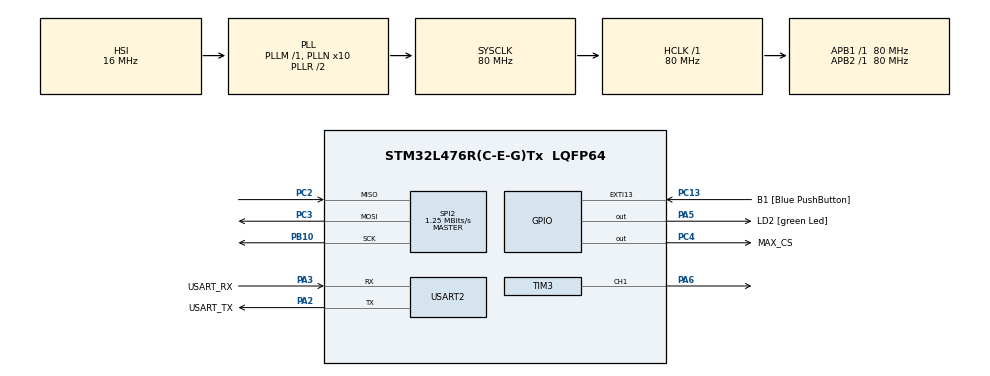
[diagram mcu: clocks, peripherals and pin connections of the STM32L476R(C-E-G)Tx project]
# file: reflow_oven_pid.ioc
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Mcu.Family=STM32L4
PC3.Mode=Full_Duplex_Master
Dma.SPI2_RX.0.Instance=DMA1_Channel4
PA2.GPIO_PuPd=GPIO_NOPULL
TIM17.Prescaler=8000 - 1
RCC.CortexFreq_Value=80000000
VP_TIM17_VS_ClockSourceINT.Mode=Enable_Timer
NVIC.DMA1_Channel5_IRQn=true\:0\:0\:false\:false\:true\:false\:true
SPI2.VirtualType=VM_MASTER
PB10.Mode=Full_Duplex_Master
PH0-OSC_IN\ (PH0).Signal=RCC_OSC_IN
PA3.GPIO_PuPd=GPIO_NOPULL
PA2.GPIO_Speed=GPIO_SPEED_FREQ_VERY_HIGH
Dma.SPI2_TX.1.PeriphInc=DMA_PINC_DISABLE
PC15-OSC32_OUT\ (PC15).Mode=LSE-External-Oscillator
PC13.GPIO_Label=B1 [Blue PushButton]
PA3.GPIO_Speed=GPIO_SPEED_FREQ_VERY_HIGH
RCC.SYSCLKSource=RCC_SYSCLKSOURCE_PLLCLK
ProjectManager.StackSize=0x400
PB3\ (JTDO-TRACESWO).Signal=SYS_JTDO-SWO
PC14-OSC32_IN\ (PC14).Mode=LSE-External-Oscillator
PA14\ (JTCK-SWCLK).Signal=SYS_JTCK-SWCLK
RCC.HCLKFreq_Value=80000000
RCC.APB2TimFreq_Value=80000000
TIM3.Period=4095 - 1
TIM3.OC1Preload_PWM=ENABLE
PC3.Signal=SPI2_MOSI
RCC.AHBFreq_Value=80000000
RCC.PREFETCH_ENABLE=1
SPI2.BaudRatePrescaler=SPI_BAUDRATEPRESCALER_64
TIM3.Channel-PWM\ Generation1\ CH1=TIM_CHANNEL_1
TIM3.ClockDivision=TIM_CLOCKDIVISION_DIV1
RCC.HSE_VALUE=8000000
USART2.VirtualMode-Asynchronous=VM_ASYNC
TIM17.Period=700 - 1
NVIC.TIM1_TRG_COM_TIM17_IRQn=true\:0\:0\:false\:false\:true\:true\:true
PC4.GPIO_Label=MAX_CS
TIM3.Prescaler=9768 - 1
PA5.GPIO_PuPd=GPIO_NOPULL
PC13.GPIO_PuPd=GPIO_NOPULL
SPI2.CalculateBaudRate=1.25 MBits/s
Dma.SPI2_RX.0.MemDataAlignment=DMA_MDATAALIGN_BYTE
SH.S_TIM3_CH1.0=TIM3_CH1,PWM Generation1 CH1
Dma.SPI2_RX.0.MemInc=DMA_MINC_ENABLE
Mcu.Package=LQFP64
PA6.Signal=S_TIM3_CH1
Dma.SPI2_TX.1.Mode=DMA_NORMAL
SPI2.Mode=SPI_MODE_MASTER
PA2.GPIO_Label=USART_TX
Dma.SPI2_TX.1.Instance=DMA1_Channel5
Dma.Request1=SPI2_TX
RCC.APB1TimFreq_Value=80000000
SPI2.Direction=SPI_DIRECTION_2LINES
Dma.SPI2_RX.0.Direction=DMA_PERIPH_TO_MEMORY
NVIC.DMA1_Channel4_IRQn=true\:0\:0\:false\:false\:true\:false\:true
TIM16.Prescaler=8000 - 1
PA13\ (JTMS-SWDIO).Signal=SYS_JTMS-SWDIO
Dma.Request0=SPI2_RX
VP_TIM3_VS_ClockSourceINT.Mode=Internal
PA3.Signal=USART2_RX
PA2.GPIO_Mode=GPIO_MODE_AF_PP
RCC.MSI_VALUE=4000000
RCC.PLLSourceVirtual=RCC_PLLSOURCE_HSI
PA14\ (JTCK-SWCLK).Mode=Serial_Wire
Dma.SPI2_TX.1.MemInc=DMA_MINC_ENABLE
Dma.SPI2_RX.0.Mode=DMA_NORMAL
PC13.Signal=GPXTI13
PC4.Signal=GPIO_Output
PC2.Signal=SPI2_MISO
PC2.Mode=Full_Duplex_Master
PC15-OSC32_OUT\ (PC15).Signal=RCC_OSC32_OUT
VP_TIM16_VS_ClockSourceINT.Mode=Enable_Timer
PA14\ (JTCK-SWCLK).GPIO_Label=TCK
PB3\ (JTDO-TRACESWO).GPIO_Label=SWO
PH1-OSC_OUT\ (PH1).Signal=RCC_OSC_OUT
PA3.Mode=Asynchronous
Dma.SPI2_RX.0.PeriphDataAlignment=DMA_PDATAALIGN_BYTE
TIM3.Pulse-PWM\ Generation1\ CH1=0
ProjectManager.TargetToolchain=STM32CubeIDE
PA3.GPIO_Mode=GPIO_MODE_AF_PP
RCC.USBFreq_Value=64000000
PB10.Signal=SPI2_SCK
PA5.Signal=GPIO_Output
board=NUCLEO-L476RG
Dma.SPI2_TX.1.Direction=DMA_MEMORY_TO_PERIPH
RCC.VCOOutputFreq_Value=160000000
TIM16.Period=10000 - 1
RCC.APB2Freq_Value=80000000
Dma.SPI2_TX.1.PeriphDataAlignment=DMA_PDATAALIGN_BYTE
PA5.GPIO_ModeDefaultOutputPP=GPIO_MODE_OUTPUT_PP
PA13\ (JTMS-SWDIO).GPIO_Label=TMS
Dma.SPI2_TX.1.Priority=DMA_PRIORITY_HIGH
RCC.ADCFreq_Value=64000000
Dma.SPI2_RX.0.Priority=DMA_PRIORITY_HIGH
Mcu.Name=STM32L476R(C-E-G)Tx
PA2.Signal=USART2_TX
PA13\ (JTMS-SWDIO).Mode=Serial_Wire
RCC.SYSCLKFreq_VALUE=80000000
PA5.GPIO_Label=LD2 [green Led]
PC13.GPIO_ModeDefaultEXTI=GPIO_MODE_IT_FALLING
PC14-OSC32_IN\ (PC14).Signal=RCC_OSC32_IN
Dma.SPI2_RX.0.PeriphInc=DMA_PINC_DISABLE
ProjectManager.HeapSize=0x200
RCC.HSI_VALUE=16000000
NVIC.TIM1_UP_TIM16_IRQn=true\:0\:0\:false\:false\:true\:true\:true
PA5.GPIO_Speed=GPIO_SPEED_FREQ_LOW
NVIC.PriorityGroup=NVIC_PRIORITYGROUP_4
RCC.PLLN=10
PA2.Mode=Asynchronous
SPI2.DataSize=SPI_DATASIZE_8BIT
RCC.APB1Freq_Value=80000000
Dma.SPI2_TX.1.MemDataAlignment=DMA_MDATAALIGN_BYTE
PA3.GPIO_Label=USART_RX

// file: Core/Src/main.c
/* USER CODE BEGIN Header */
/**
  ******************************************************************************
  * @file           : main.c
  * @brief          : Main program body
  ******************************************************************************
  * @attention
  *
  * <h2><center>&copy; Copyright (c) 2021 STMicroelectronics.
  * All rights reserved.</center></h2>
  *
  * This software component is licensed by ST under BSD 3-Clause license,
  * the "License"; You may not use this file except in compliance with the
  * License. You may obtain a copy of the License at:
  *                        opensource.org/licenses/BSD-3-Clause
  *
  ******************************************************************************
  */
/* USER CODE END Header */
#include "main.h"

/* USER CODE BEGIN Includes */
#include <string.h>
#include <stdio.h>

#include "MAX31855K.h"
#include "pid.h"
#include "printf.h"
/* USER CODE END Includes */

SPI_HandleTypeDef hspi2;
DMA_HandleTypeDef hdma_spi2_rx;
DMA_HandleTypeDef hdma_spi2_tx;

TIM_HandleTypeDef htim3;
TIM_HandleTypeDef htim16;
TIM_HandleTypeDef htim17;

UART_HandleTypeDef huart2;

/* USER CODE BEGIN PV */
/* Synchronization objects */
volatile uint8_t bin_sem = 0;
volatile uint32_t count = 0;

/* Driver objects */
MAX31855K_t max31855K;
PID_t pid;
/* USER CODE END PV */

void SystemClock_Config(void);
static void MX_GPIO_Init(void);
static void MX_DMA_Init(void);
static void MX_USART2_UART_Init(void);
static void MX_TIM16_Init(void);
static void MX_SPI2_Init(void);
static void MX_TIM3_Init(void);
static void MX_TIM17_Init(void);

/* USER CODE BEGIN 0 */

// Custom putchar() function required for "tiny" printf()
void _putchar(char character)
{
    HAL_UART_Transmit(&huart2, (uint8_t*)&character, 1, HAL_MAX_DELAY);
}

// Callback Function for TIM16 and TIM17 interrupt.
void HAL_TIM_PeriodElapsedCallback(TIM_HandleTypeDef *htim)
{
    if (htim == &htim16) // Every 1 s.
    {
        bin_sem = 1;
        count++;
    }
    else if (htim == &htim17) // Every 0.07 s.
    {
        MAX31855K_RxDMA(&max31855K);
    }
}

// Callback once DMA receive from MAX31855K is completed.
void HAL_SPI_TxRxCpltCallback(SPI_HandleTypeDef *hspi)
{
    if (hspi == &hspi2)
    {
        MAX31885K_RxDMA_Complete(&max31855K);
    }
}

// Callback if error occurred during DMA receive from MAX31855K.
void HAL_SPI_ErrorCallback(SPI_HandleTypeDef *hspi)
{
    if (hspi == &hspi2)
    {
        max31855K.err = MAX_SPI_DMA_FAIL;
    }
}
/* USER CODE END 0 */

int main(void)
{

    /* MCU Configuration--------------------------------------------------------*/

    /* Reset of all peripherals, Initializes the Flash interface and the Systick. */
    HAL_Init();

    /* Configure the system clock */
    SystemClock_Config();

    /* Initialize all configured peripherals */
    MX_GPIO_Init();
    MX_DMA_Init();
    MX_USART2_UART_Init();
    MX_TIM16_Init();
    MX_SPI2_Init();
    MX_TIM3_Init();
    MX_TIM17_Init();
    /* USER CODE BEGIN 2 */

    __HAL_TIM_ENABLE_OCxPRELOAD(&htim3, TIM_CHANNEL_1); // Set OC1PE bit to preload PWM value.
    HAL_TIM_Base_Start_IT(&htim16);                     // Start 1 s timer interrupt.
    HAL_TIM_Base_Start_IT(&htim17);                     // Start 0.07 s timer interrupt.

    MAX31855K_Init(&max31855K, &hspi2, MAX_CS_GPIO_Port, MAX_CS_Pin);
    /* USER CODE END 2 */

    /* Infinite loop */
    /* USER CODE BEGIN WHILE */

    // Create local variables:
    uint8_t set_point = 170;                  // TODO: Update set point
    HAL_TIM_PWM_Start(&htim3, TIM_CHANNEL_1); // Duty cycle initialized to 0%.

    /* PID Iteration:
      setpoint_temp = profile_get_setpoint();
      measured_temp = MAX31855K_Get_HJ(&max31855K);

      pwm = PID_Calculate(&pid, setpoint_temp, measured_temp);

      __HAL_TIM_SET_COMPARE(&htim3, TIM_CHANNEL_1, pwm);
    */

    while (1)
    {
        // Wait for timer interrupt.
        while (bin_sem == 0)
        {
            HAL_Delay(1);
        }
        bin_sem = 0;

        // Pseudo-state machine.
        switch (count)
        {
        case 100:
            __HAL_TIM_SET_COMPARE(&htim3, TIM_CHANNEL_1, 2047); // 50% Duty Cycle
            break;
        case 750:
            __HAL_TIM_SET_COMPARE(&htim3, TIM_CHANNEL_1, 4095); // 100% Duty Cycle
            break;
        case 1250:
            __HAL_TIM_SET_COMPARE(&htim3, TIM_CHANNEL_1, 3071); // 75% Duty Cycle
            break;
        case 2000:
            __HAL_TIM_SET_COMPARE(&htim3, TIM_CHANNEL_1, 1023); // 25% Duty Cycle
            break;
        default:
            break;
        }

        // Transmit set point, MCU control signal and temperature reading.

        switch (max31855K.err) // Automatically updated every ~0.07 s
        {
        case MAX_OK:
        		/* SP, PWM, HJ, CJ */
            printf("%d %d %.2f %.2f\r\n", set_point,
                    (uint16_t)__HAL_TIM_GET_COMPARE(&htim3, TIM_CHANNEL_1) * 100 / 4095,
                    MAX31855K_Get_HJ(&max31855K),
                    MAX31855K_Get_CJ(&max31855K));
            break;
        case MAX_SHORT_VCC:
            printf("Thermocouple shorted to VCC\r\n");
            break;
        case MAX_SHORT_GND:
            printf("Thermocouple shorted to GND\r\n");
            break;
        case MAX_OPEN:
            printf("Thermocouple connection is open\r\n");
            break;
        case MAX_ZEROS:
            printf("SPI read only 0s\r\n");
            break;
        case MAX_SPI_DMA_FAIL:
            printf("SPI DMA Fail\r\n");
            break;
        default:
            printf("Unknown error\r\n");
            break;
        }
        /* USER CODE END WHILE */

    }
}

void SystemClock_Config(void)
{
    RCC_OscInitTypeDef RCC_OscInitStruct = {0};
    RCC_ClkInitTypeDef RCC_ClkInitStruct = {0};
    RCC_PeriphCLKInitTypeDef PeriphClkInit = {0};

    /** Initializes the RCC Oscillators according to the specified parameters
  * in the RCC_OscInitTypeDef structure.
  */
    RCC_OscInitStruct.OscillatorType = RCC_OSCILLATORTYPE_HSI;
    RCC_OscInitStruct.HSIState = RCC_HSI_ON;
    RCC_OscInitStruct.HSICalibrationValue = RCC_HSICALIBRATION_DEFAULT;
    RCC_OscInitStruct.PLL.PLLState = RCC_PLL_ON;
    RCC_OscInitStruct.PLL.PLLSource = RCC_PLLSOURCE_HSI;
    RCC_OscInitStruct.PLL.PLLM = 1;
    RCC_OscInitStruct.PLL.PLLN = 10;
    RCC_OscInitStruct.PLL.PLLP = RCC_PLLP_DIV7;
    RCC_OscInitStruct.PLL.PLLQ = RCC_PLLQ_DIV2;
    RCC_OscInitStruct.PLL.PLLR = RCC_PLLR_DIV2;
    if (HAL_RCC_OscConfig(&RCC_OscInitStruct) != HAL_OK)
    {
        Error_Handler();
    }
    /** Initializes the CPU, AHB and APB buses clocks
  */
    RCC_ClkInitStruct.ClockType = RCC_CLOCKTYPE_HCLK | RCC_CLOCKTYPE_SYSCLK | RCC_CLOCKTYPE_PCLK1 | RCC_CLOCKTYPE_PCLK2;
    RCC_ClkInitStruct.SYSCLKSource = RCC_SYSCLKSOURCE_PLLCLK;
    RCC_ClkInitStruct.AHBCLKDivider = RCC_SYSCLK_DIV1;
    RCC_ClkInitStruct.APB1CLKDivider = RCC_HCLK_DIV1;
    RCC_ClkInitStruct.APB2CLKDivider = RCC_HCLK_DIV1;

    if (HAL_RCC_ClockConfig(&RCC_ClkInitStruct, FLASH_LATENCY_4) != HAL_OK)
    {
        Error_Handler();
    }
    PeriphClkInit.PeriphClockSelection = RCC_PERIPHCLK_USART2;
    PeriphClkInit.Usart2ClockSelection = RCC_USART2CLKSOURCE_PCLK1;
    if (HAL_RCCEx_PeriphCLKConfig(&PeriphClkInit) != HAL_OK)
    {
        Error_Handler();
    }
    /** Configure the main internal regulator output voltage
  */
    if (HAL_PWREx_ControlVoltageScaling(PWR_REGULATOR_VOLTAGE_SCALE1) != HAL_OK)
    {
        Error_Handler();
    }
}

static void MX_SPI2_Init(void)
{

    /* SPI2 parameter configuration*/
    hspi2.Instance = SPI2;
    hspi2.Init.Mode = SPI_MODE_MASTER;
    hspi2.Init.Direction = SPI_DIRECTION_2LINES;
    hspi2.Init.DataSize = SPI_DATASIZE_8BIT;
    hspi2.Init.CLKPolarity = SPI_POLARITY_LOW;
    hspi2.Init.CLKPhase = SPI_PHASE_1EDGE;
    hspi2.Init.NSS = SPI_NSS_SOFT;
    hspi2.Init.BaudRatePrescaler = SPI_BAUDRATEPRESCALER_64;
    hspi2.Init.FirstBit = SPI_FIRSTBIT_MSB;
    hspi2.Init.TIMode = SPI_TIMODE_DISABLE;
    hspi2.Init.CRCCalculation = SPI_CRCCALCULATION_DISABLE;
    hspi2.Init.CRCPolynomial = 7;
    hspi2.Init.CRCLength = SPI_CRC_LENGTH_DATASIZE;
    hspi2.Init.NSSPMode = SPI_NSS_PULSE_ENABLE;
    if (HAL_SPI_Init(&hspi2) != HAL_OK)
    {
        Error_Handler();
    }
}

static void MX_TIM3_Init(void)
{

    TIM_ClockConfigTypeDef sClockSourceConfig = {0};
    TIM_MasterConfigTypeDef sMasterConfig = {0};
    TIM_OC_InitTypeDef sConfigOC = {0};

    htim3.Instance = TIM3;
    htim3.Init.Prescaler = 9768 - 1;
    htim3.Init.CounterMode = TIM_COUNTERMODE_UP;
    htim3.Init.Period = 4095 - 1;
    htim3.Init.ClockDivision = TIM_CLOCKDIVISION_DIV1;
    htim3.Init.AutoReloadPreload = TIM_AUTORELOAD_PRELOAD_DISABLE;
    if (HAL_TIM_Base_Init(&htim3) != HAL_OK)
    {
        Error_Handler();
    }
    sClockSourceConfig.ClockSource = TIM_CLOCKSOURCE_INTERNAL;
    if (HAL_TIM_ConfigClockSource(&htim3, &sClockSourceConfig) != HAL_OK)
    {
        Error_Handler();
    }
    if (HAL_TIM_PWM_Init(&htim3) != HAL_OK)
    {
        Error_Handler();
    }
    sMasterConfig.MasterOutputTrigger = TIM_TRGO_RESET;
    sMasterConfig.MasterSlaveMode = TIM_MASTERSLAVEMODE_DISABLE;
    if (HAL_TIMEx_MasterConfigSynchronization(&htim3, &sMasterConfig) != HAL_OK)
    {
        Error_Handler();
    }
    sConfigOC.OCMode = TIM_OCMODE_PWM1;
    sConfigOC.Pulse = 0;
    sConfigOC.OCPolarity = TIM_OCPOLARITY_HIGH;
    sConfigOC.OCFastMode = TIM_OCFAST_DISABLE;
    if (HAL_TIM_PWM_ConfigChannel(&htim3, &sConfigOC, TIM_CHANNEL_1) != HAL_OK)
    {
        Error_Handler();
    }
    HAL_TIM_MspPostInit(&htim3);
}

static void MX_TIM16_Init(void)
{

    htim16.Instance = TIM16;
    htim16.Init.Prescaler = 8000 - 1;
    htim16.Init.CounterMode = TIM_COUNTERMODE_UP;
    htim16.Init.Period = 10000 - 1;
    htim16.Init.ClockDivision = TIM_CLOCKDIVISION_DIV1;
    htim16.Init.RepetitionCounter = 0;
    htim16.Init.AutoReloadPreload = TIM_AUTORELOAD_PRELOAD_DISABLE;
    if (HAL_TIM_Base_Init(&htim16) != HAL_OK)
    {
        Error_Handler();
    }
}

static void MX_TIM17_Init(void)
{

    htim17.Instance = TIM17;
    htim17.Init.Prescaler = 8000 - 1;
    htim17.Init.CounterMode = TIM_COUNTERMODE_UP;
    htim17.Init.Period = 700 - 1;
    htim17.Init.ClockDivision = TIM_CLOCKDIVISION_DIV1;
    htim17.Init.RepetitionCounter = 0;
    htim17.Init.AutoReloadPreload = TIM_AUTORELOAD_PRELOAD_DISABLE;
    if (HAL_TIM_Base_Init(&htim17) != HAL_OK)
    {
        Error_Handler();
    }
}

static void MX_USART2_UART_Init(void)
{

    huart2.Instance = USART2;
    huart2.Init.BaudRate = 115200;
    huart2.Init.WordLength = UART_WORDLENGTH_8B;
    huart2.Init.StopBits = UART_STOPBITS_1;
    huart2.Init.Parity = UART_PARITY_NONE;
    huart2.Init.Mode = UART_MODE_TX_RX;
    huart2.Init.HwFlowCtl = UART_HWCONTROL_NONE;
    huart2.Init.OverSampling = UART_OVERSAMPLING_16;
    huart2.Init.OneBitSampling = UART_ONE_BIT_SAMPLE_DISABLE;
    huart2.AdvancedInit.AdvFeatureInit = UART_ADVFEATURE_NO_INIT;
    if (HAL_UART_Init(&huart2) != HAL_OK)
    {
        Error_Handler();
    }
}

static void MX_DMA_Init(void)
{

    /* DMA controller clock enable */
    __HAL_RCC_DMA1_CLK_ENABLE();

    /* DMA interrupt init */
    /* DMA1_Channel4_IRQn interrupt configuration */
    HAL_NVIC_SetPriority(DMA1_Channel4_IRQn, 0, 0);
    HAL_NVIC_EnableIRQ(DMA1_Channel4_IRQn);
    /* DMA1_Channel5_IRQn interrupt configuration */
    HAL_NVIC_SetPriority(DMA1_Channel5_IRQn, 0, 0);
    HAL_NVIC_EnableIRQ(DMA1_Channel5_IRQn);
}

static void MX_GPIO_Init(void)
{
    GPIO_InitTypeDef GPIO_InitStruct = {0};

    /* GPIO Ports Clock Enable */
    __HAL_RCC_GPIOC_CLK_ENABLE();
    __HAL_RCC_GPIOH_CLK_ENABLE();
    __HAL_RCC_GPIOA_CLK_ENABLE();
    __HAL_RCC_GPIOB_CLK_ENABLE();

    /*Configure GPIO pin Output Level */
    HAL_GPIO_WritePin(LD2_GPIO_Port, LD2_Pin, GPIO_PIN_RESET);

    /*Configure GPIO pin Output Level */
    HAL_GPIO_WritePin(MAX_CS_GPIO_Port, MAX_CS_Pin, GPIO_PIN_RESET);

    /*Configure GPIO pin : B1_Pin */
    GPIO_InitStruct.Pin = B1_Pin;
    GPIO_InitStruct.Mode = GPIO_MODE_IT_FALLING;
    GPIO_InitStruct.Pull = GPIO_NOPULL;
    HAL_GPIO_Init(B1_GPIO_Port, &GPIO_InitStruct);

    /*Configure GPIO pin : LD2_Pin */
    GPIO_InitStruct.Pin = LD2_Pin;
    GPIO_InitStruct.Mode = GPIO_MODE_OUTPUT_PP;
    GPIO_InitStruct.Pull = GPIO_NOPULL;
    GPIO_InitStruct.Speed = GPIO_SPEED_FREQ_LOW;
    HAL_GPIO_Init(LD2_GPIO_Port, &GPIO_InitStruct);

    /*Configure GPIO pin : MAX_CS_Pin */
    GPIO_InitStruct.Pin = MAX_CS_Pin;
    GPIO_InitStruct.Mode = GPIO_MODE_OUTPUT_PP;
    GPIO_InitStruct.Pull = GPIO_NOPULL;
    GPIO_InitStruct.Speed = GPIO_SPEED_FREQ_LOW;
    HAL_GPIO_Init(MAX_CS_GPIO_Port, &GPIO_InitStruct);
}

void Error_Handler(void)
{
    __disable_irq();
    while (1)
    {
    }
}

/************************ (C) COPYRIGHT STMicroelectronics *****END OF FILE****/
